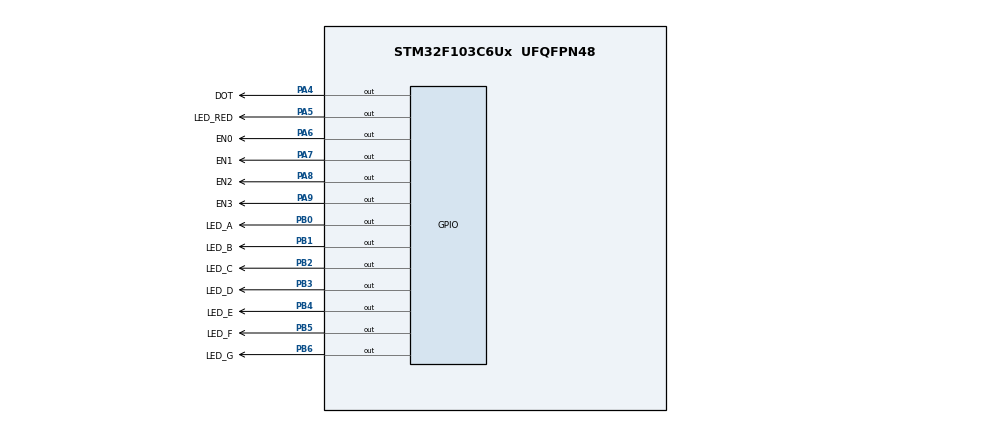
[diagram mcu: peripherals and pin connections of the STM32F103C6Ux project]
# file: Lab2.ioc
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Mcu.Family=STM32F1
Mcu.Name=STM32F103C6Ux
Mcu.Package=UFQFPN48
NVIC.PriorityGroup=NVIC_PRIORITYGROUP_4
NVIC.TIM2_IRQn=true\:0\:0\:false\:false\:true\:true\:true
PA4.GPIO_Label=DOT
PA4.Signal=GPIO_Output
PA5.GPIO_Label=LED_RED
PA5.Signal=GPIO_Output
PA6.GPIO_Label=EN0
PA6.Signal=GPIO_Output
PA7.GPIO_Label=EN1
PA7.Signal=GPIO_Output
PA8.GPIO_Label=EN2
PA8.Signal=GPIO_Output
PA9.GPIO_Label=EN3
PA9.Signal=GPIO_Output
PB0.GPIO_Label=LED_A
PB0.Signal=GPIO_Output
PB1.GPIO_Label=LED_B
PB1.Signal=GPIO_Output
PB2.GPIO_Label=LED_C
PB2.Signal=GPIO_Output
PB3.GPIO_Label=LED_D
PB3.Signal=GPIO_Output
PB4.GPIO_Label=LED_E
PB4.Signal=GPIO_Output
PB5.GPIO_Label=LED_F
PB5.Signal=GPIO_Output
PB6.GPIO_Label=LED_G
PB6.Signal=GPIO_Output
ProjectManager.HeapSize=0x200
ProjectManager.StackSize=0x400
ProjectManager.TargetToolchain=STM32CubeIDE
RCC.APB1Freq_Value=8000000
RCC.APB2Freq_Value=8000000
TIM2.Period=9
TIM2.Prescaler=7999
VP_SYS_VS_ND.Mode=No_Debug
VP_TIM2_VS_ClockSourceINT.Mode=Internal
board=custom

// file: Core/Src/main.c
/* USER CODE BEGIN Header */
/**
  ******************************************************************************
  * @file           : main.c
  * @brief          : Main program body
  ******************************************************************************
  * @attention
  *
  * <h2><center>&copy; Copyright (c) 2024 STMicroelectronics.
  * All rights reserved.</center></h2>
  *
  * This software component is licensed by ST under BSD 3-Clause license,
  * the "License"; You may not use this file except in compliance with the
  * License. You may obtain a copy of the License at:
  *                        opensource.org/licenses/BSD-3-Clause
  *
  ******************************************************************************
  */
/* USER CODE END Header */
#include "main.h"

/* USER CODE BEGIN Includes */
#include "software_timer.h"
/* USER CODE END Includes */

/* USER CODE BEGIN PTD */
void display7SEG(int k);
void update7SEG(int index);
void updateClockBuffer();

/* USER CODE END PTD */

TIM_HandleTypeDef htim2;
const int MAX_LED = 4;
int index_led = 0;
int led_buffer [4] = {1 , 2 , 3 , 4};
int hour = 15 , minute = 8 , second = 50;

void SystemClock_Config(void);
static void MX_GPIO_Init(void);
static void MX_TIM2_Init(void);

int main(void)
{

  /* MCU Configuration--------------------------------------------------------*/

  /* Reset of all peripherals, Initializes the Flash interface and the Systick. */
  HAL_Init();

  /* Configure the system clock */
  SystemClock_Config();

  /* Initialize all configured peripherals */
  MX_GPIO_Init();
  MX_TIM2_Init();
  /* USER CODE BEGIN 2 */
  HAL_TIM_Base_Start_IT(&htim2);
  /* USER CODE END 2 */

  /* Infinite loop */
  /* USER CODE BEGIN WHILE */
  setTimer0(10);
  setTimer1(10);
  setTimer2(5);
  while (1)
      {
    /* USER CODE END WHILE */
	  if (timer0_flag == 1 ){
		  second++;
		  if (second >= 60) {
			  second = 0;
			  minute++;
		  }
		  if (minute >= 60){
			  minute =0;
			  hour++;
		  }
		  if (hour >= 24){
			  hour=0;
		  }
		  updateClockBuffer();
		  setTimer0(100);
	   }

	   if (timer1_flag == 1){
		   HAL_GPIO_TogglePin(GPIOA,LED_RED_Pin);
		   HAL_GPIO_TogglePin(GPIOA,DOT_Pin);
		   setTimer1(100);
	   }
	   if (timer2_flag == 1){
 		  update7SEG(index_led++);
 		  setTimer2(25);

	   }
  }
}

void SystemClock_Config(void)
{
  RCC_OscInitTypeDef RCC_OscInitStruct = {0};
  RCC_ClkInitTypeDef RCC_ClkInitStruct = {0};

  /** Initializes the RCC Oscillators according to the specified parameters
  * in the RCC_OscInitTypeDef structure.
  */
  RCC_OscInitStruct.OscillatorType = RCC_OSCILLATORTYPE_HSI;
  RCC_OscInitStruct.HSIState = RCC_HSI_ON;
  RCC_OscInitStruct.HSICalibrationValue = RCC_HSICALIBRATION_DEFAULT;
  RCC_OscInitStruct.PLL.PLLState = RCC_PLL_NONE;
  if (HAL_RCC_OscConfig(&RCC_OscInitStruct) != HAL_OK)
  {
    Error_Handler();
  }
  /** Initializes the CPU, AHB and APB buses clocks
  */
  RCC_ClkInitStruct.ClockType = RCC_CLOCKTYPE_HCLK|RCC_CLOCKTYPE_SYSCLK
                              |RCC_CLOCKTYPE_PCLK1|RCC_CLOCKTYPE_PCLK2;
  RCC_ClkInitStruct.SYSCLKSource = RCC_SYSCLKSOURCE_HSI;
  RCC_ClkInitStruct.AHBCLKDivider = RCC_SYSCLK_DIV1;
  RCC_ClkInitStruct.APB1CLKDivider = RCC_HCLK_DIV1;
  RCC_ClkInitStruct.APB2CLKDivider = RCC_HCLK_DIV1;

  if (HAL_RCC_ClockConfig(&RCC_ClkInitStruct, FLASH_LATENCY_0) != HAL_OK)
  {
    Error_Handler();
  }
}

static void MX_TIM2_Init(void)
{

  TIM_ClockConfigTypeDef sClockSourceConfig = {0};
  TIM_MasterConfigTypeDef sMasterConfig = {0};

  htim2.Instance = TIM2;
  htim2.Init.Prescaler = 7999;
  htim2.Init.CounterMode = TIM_COUNTERMODE_UP;
  htim2.Init.Period = 9;
  htim2.Init.ClockDivision = TIM_CLOCKDIVISION_DIV1;
  htim2.Init.AutoReloadPreload = TIM_AUTORELOAD_PRELOAD_DISABLE;
  if (HAL_TIM_Base_Init(&htim2) != HAL_OK)
  {
    Error_Handler();
  }
  sClockSourceConfig.ClockSource = TIM_CLOCKSOURCE_INTERNAL;
  if (HAL_TIM_ConfigClockSource(&htim2, &sClockSourceConfig) != HAL_OK)
  {
    Error_Handler();
  }
  sMasterConfig.MasterOutputTrigger = TIM_TRGO_RESET;
  sMasterConfig.MasterSlaveMode = TIM_MASTERSLAVEMODE_DISABLE;
  if (HAL_TIMEx_MasterConfigSynchronization(&htim2, &sMasterConfig) != HAL_OK)
  {
    Error_Handler();
  }

}

static void MX_GPIO_Init(void)
{
  GPIO_InitTypeDef GPIO_InitStruct = {0};

  /* GPIO Ports Clock Enable */
  __HAL_RCC_GPIOA_CLK_ENABLE();
  __HAL_RCC_GPIOB_CLK_ENABLE();

  /*Configure GPIO pin Output Level */
  HAL_GPIO_WritePin(GPIOA, DOT_Pin|LED_RED_Pin|EN0_Pin|EN1_Pin
                          |EN2_Pin|EN3_Pin, GPIO_PIN_RESET);

  /*Configure GPIO pin Output Level */
  HAL_GPIO_WritePin(GPIOB, LED_A_Pin|LED_B_Pin|LED_C_Pin|LED_D_Pin
                          |LED_E_Pin|LED_F_Pin|LED_G_Pin, GPIO_PIN_RESET);

  /*Configure GPIO pins : DOT_Pin LED_RED_Pin EN0_Pin EN1_Pin
                           EN2_Pin EN3_Pin */
  GPIO_InitStruct.Pin = DOT_Pin|LED_RED_Pin|EN0_Pin|EN1_Pin
                          |EN2_Pin|EN3_Pin;
  GPIO_InitStruct.Mode = GPIO_MODE_OUTPUT_PP;
  GPIO_InitStruct.Pull = GPIO_NOPULL;
  GPIO_InitStruct.Speed = GPIO_SPEED_FREQ_LOW;
  HAL_GPIO_Init(GPIOA, &GPIO_InitStruct);

  /*Configure GPIO pins : LED_A_Pin LED_B_Pin LED_C_Pin LED_D_Pin
                           LED_E_Pin LED_F_Pin LED_G_Pin */
  GPIO_InitStruct.Pin = LED_A_Pin|LED_B_Pin|LED_C_Pin|LED_D_Pin
                          |LED_E_Pin|LED_F_Pin|LED_G_Pin;
  GPIO_InitStruct.Mode = GPIO_MODE_OUTPUT_PP;
  GPIO_InitStruct.Pull = GPIO_NOPULL;
  GPIO_InitStruct.Speed = GPIO_SPEED_FREQ_LOW;
  HAL_GPIO_Init(GPIOB, &GPIO_InitStruct);

}

/* USER CODE BEGIN 4 */
void HAL_TIM_PeriodElapsedCallback(TIM_HandleTypeDef *htim) {
	timerRun();
}

void display7SEG(int k){
	switch (k){
	case 0:
		  HAL_GPIO_WritePin(GPIOB, LED_A_Pin|LED_B_Pin|LED_C_Pin|LED_D_Pin
		                          |LED_E_Pin|LED_F_Pin|LED_G_Pin, GPIO_PIN_RESET);

		  HAL_GPIO_WritePin(GPIOB, LED_G_Pin, GPIO_PIN_SET);
		break;
	case 1:
		  HAL_GPIO_WritePin(GPIOB, LED_B_Pin|LED_C_Pin, GPIO_PIN_RESET);

		  HAL_GPIO_WritePin(GPIOB, LED_A_Pin|LED_D_Pin
		                          |LED_E_Pin|LED_F_Pin|LED_G_Pin, GPIO_PIN_SET);
		break;
	case 2:
		  HAL_GPIO_WritePin(GPIOB, LED_A_Pin|LED_B_Pin | LED_D_Pin
		                          |LED_E_Pin|LED_G_Pin, GPIO_PIN_RESET);

		  HAL_GPIO_WritePin(GPIOB,LED_C_Pin|LED_F_Pin, GPIO_PIN_SET);
		break;
	case 3:
		  HAL_GPIO_WritePin(GPIOB, LED_A_Pin|LED_B_Pin|LED_C_Pin|LED_D_Pin
		                          |LED_G_Pin, GPIO_PIN_RESET);
		  HAL_GPIO_WritePin(GPIOB, LED_E_Pin|LED_F_Pin, GPIO_PIN_SET);
		break;
	case 4:
		  HAL_GPIO_WritePin(GPIOB, LED_B_Pin|LED_C_Pin |LED_F_Pin|LED_G_Pin, GPIO_PIN_RESET);

		  HAL_GPIO_WritePin(GPIOB, LED_A_Pin|LED_D_Pin|LED_E_Pin, GPIO_PIN_SET);
		break;
	case 5:
		  HAL_GPIO_WritePin(GPIOB, LED_A_Pin|LED_C_Pin|LED_D_Pin
		                          |LED_F_Pin|LED_G_Pin, GPIO_PIN_RESET);

		  HAL_GPIO_WritePin(GPIOB,LED_B_Pin|LED_E_Pin, GPIO_PIN_SET);
		break;
	case 6:
		  HAL_GPIO_WritePin(GPIOB,LED_B_Pin, GPIO_PIN_SET);

		  HAL_GPIO_WritePin(GPIOB, LED_A_Pin|LED_C_Pin|LED_D_Pin
		                          |LED_E_Pin|LED_F_Pin|LED_G_Pin, GPIO_PIN_RESET);

		break;
	case 7:
		  HAL_GPIO_WritePin(GPIOB, LED_A_Pin|LED_B_Pin|LED_C_Pin , GPIO_PIN_RESET);

		  HAL_GPIO_WritePin(GPIOB, LED_D_Pin |LED_E_Pin|LED_F_Pin|LED_G_Pin, GPIO_PIN_SET);
		break;
	case 8:
		  HAL_GPIO_WritePin(GPIOB, LED_A_Pin|LED_B_Pin|LED_C_Pin|LED_D_Pin
		                          |LED_E_Pin|LED_F_Pin|LED_G_Pin, GPIO_PIN_RESET);
		break;
	case 9:
		  HAL_GPIO_WritePin(GPIOB, LED_A_Pin|LED_B_Pin|LED_C_Pin|LED_D_Pin
		                          |LED_E_Pin|LED_F_Pin|LED_G_Pin, GPIO_PIN_RESET);

		  HAL_GPIO_WritePin(GPIOB, LED_E_Pin, GPIO_PIN_SET);
		break;
	default:
		  HAL_GPIO_WritePin(GPIOB, LED_A_Pin|LED_B_Pin|LED_C_Pin|LED_D_Pin
		                          |LED_E_Pin|LED_F_Pin|LED_G_Pin, GPIO_PIN_RESET);
	}
}

void update7SEG (int index){
	if (index >3) {
		index_led = 0;
		index = 0;
	}

	switch (index){
		case 0:
		  	HAL_GPIO_WritePin(GPIOA, EN0_Pin, GPIO_PIN_RESET);
		  	HAL_GPIO_WritePin(GPIOA, EN2_Pin| EN3_Pin  | EN1_Pin, GPIO_PIN_SET);
		  	display7SEG(led_buffer[0]);
			break;
		case 1:
		  	HAL_GPIO_WritePin(GPIOA,  EN1_Pin, GPIO_PIN_RESET);
		  	HAL_GPIO_WritePin(GPIOA, EN0_Pin | EN2_Pin | EN3_Pin, GPIO_PIN_SET);
		  	display7SEG(led_buffer[1]);
			break;
		case 2:
		  	HAL_GPIO_WritePin(GPIOA,EN2_Pin , GPIO_PIN_RESET);
		  	HAL_GPIO_WritePin(GPIOA, EN0_Pin | EN1_Pin | EN3_Pin, GPIO_PIN_SET);
		  	display7SEG(led_buffer[2]);
			break;
		case 3:
		  	HAL_GPIO_WritePin(GPIOA, EN3_Pin, GPIO_PIN_RESET);
		  	HAL_GPIO_WritePin(GPIOA, EN2_Pin | EN0_Pin | EN1_Pin, GPIO_PIN_SET);
		  	display7SEG(led_buffer[3]);
			break;
		default:
			display7SEG(0);
			break;
	}
}

void updateClockBuffer(){
	led_buffer[0] = hour / 10;
	led_buffer[1] =	hour %10;
	led_buffer[2] = minute / 10;
	led_buffer[3] = minute % 10;
}

/* USER CODE END 4 */

void Error_Handler(void)
{
  __disable_irq();
  while (1)
  {
  }
}

/************************ (C) COPYRIGHT STMicroelectronics *****END OF FILE****/
